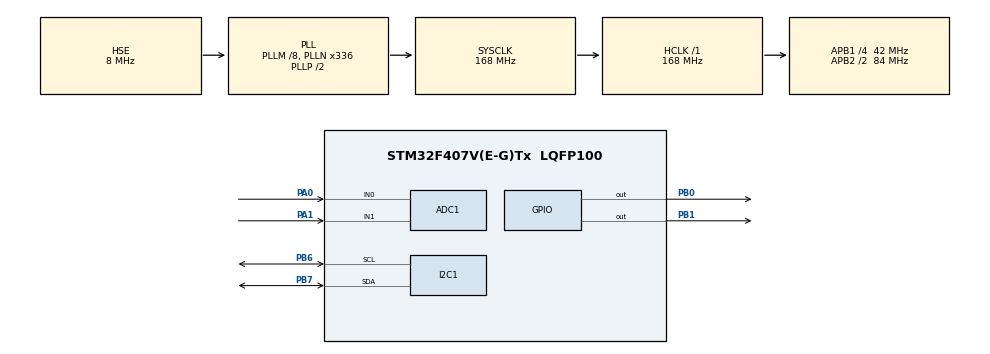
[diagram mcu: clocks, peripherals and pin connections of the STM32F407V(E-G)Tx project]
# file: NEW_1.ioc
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ADC1.Channel-1\#ChannelRegularConversion=ADC_CHANNEL_0
ADC1.ContinuousConvMode=ENABLE
ADC1.NbrOfConversionFlag=1
ADC1.Rank-1\#ChannelRegularConversion=1
ADC1.SamplingTime-1\#ChannelRegularConversion=ADC_SAMPLETIME_3CYCLES
ADC1.master=1
I2C1.I2C_Mode=I2C_Fast
Mcu.Family=STM32F4
Mcu.Name=STM32F407V(E-G)Tx
Mcu.Package=LQFP100
NVIC.PriorityGroup=NVIC_PRIORITYGROUP_0
PA0-WKUP.Signal=ADCx_IN0
PA1.Signal=ADCx_IN1
PA13.Mode=Serial_Wire
PA13.Signal=SYS_JTMS-SWDIO
PA14.Mode=Serial_Wire
PA14.Signal=SYS_JTCK-SWCLK
PB0.GPIO_ModeDefaultOutputPP=GPIO_MODE_OUTPUT_PP
PB0.GPIO_PuPd=GPIO_PULLUP
PB0.Signal=GPIO_Output
PB1.GPIO_ModeDefaultOutputPP=GPIO_MODE_OUTPUT_PP
PB1.GPIO_PuPd=GPIO_PULLUP
PB1.Signal=GPIO_Output
PB6.GPIO_Mode=GPIO_MODE_AF_OD
PB6.GPIO_Pu=GPIO_PULLUP
PB6.Mode=I2C
PB6.Signal=I2C1_SCL
PB7.GPIO_Mode=GPIO_MODE_AF_OD
PB7.GPIO_Pu=GPIO_PULLUP
PB7.Mode=I2C
PB7.Signal=I2C1_SDA
PH0-OSC_IN.Mode=HSE-External-Oscillator
PH0-OSC_IN.Signal=RCC_OSC_IN
PH1-OSC_OUT.Mode=HSE-External-Oscillator
PH1-OSC_OUT.Signal=RCC_OSC_OUT
ProjectManager.HeapSize=0x200
ProjectManager.StackSize=0x400
ProjectManager.TargetToolchain=STM32CubeIDE
RCC.48MHZClocksFreq_Value=48000000
RCC.AHBFreq_Value=168000000
RCC.APB1CLKDivider=RCC_HCLK_DIV4
RCC.APB1Freq_Value=42000000
RCC.APB1TimFreq_Value=84000000
RCC.APB2CLKDivider=RCC_HCLK_DIV2
RCC.APB2Freq_Value=84000000
RCC.APB2TimFreq_Value=168000000
RCC.CortexFreq_Value=168000000
RCC.HCLKFreq_Value=168000000
RCC.HSE_VALUE=8000000
RCC.HSI_VALUE=16000000
RCC.LSE_VALUE=32768
RCC.PLLM=8
RCC.PLLN=336
RCC.PLLQ=7
RCC.PLLSourceVirtual=RCC_PLLSOURCE_HSE
RCC.SYSCLKFreq_VALUE=168000000
RCC.SYSCLKSource=RCC_SYSCLKSOURCE_PLLCLK
RCC.VCOOutputFreq_Value=336000000
SH.ADCx_IN0.0=ADC1_IN0,IN0
SH.ADCx_IN1.0=ADC1_IN1,IN1
board=STM32F407G-DISC1

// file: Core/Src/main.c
/* USER CODE BEGIN Header */
/**
  ******************************************************************************
  * @file           : main.c
  * @brief          : Main program body
  ******************************************************************************
  * @attention
  *
  * Copyright (c) 2024 STMicroelectronics.
  * All rights reserved.
  *
  * This software is licensed under terms that can be found in the LICENSE file
  * in the root directory of this software component.
  * If no LICENSE file comes with this software, it is provided AS-IS.
  *
  ******************************************************************************
  */
/* USER CODE END Header */
#include "main.h"

/* USER CODE BEGIN Includes */
#include "ssd1306.h"
#include "ssd1306_fonts.h"
#include "mq135.h"
#include "ky037.h"
#define AQI_THRESHOLD 1
#define NOISE_THRESHOLD 5

/* USER CODE END Includes */

ADC_HandleTypeDef hadc1;

I2C_HandleTypeDef hi2c1;

void SystemClock_Config(void);
static void MX_GPIO_Init(void);
static void MX_I2C1_Init(void);
static void MX_ADC1_Init(void);

int main(void)
{

  /* MCU Configuration--------------------------------------------------------*/

  /* Reset of all peripherals, Initializes the Flash interface and the Systick. */
  HAL_Init();

  /* Configure the system clock */
  SystemClock_Config();

  /* Initialize all configured peripherals */
  MX_GPIO_Init();
  MX_I2C1_Init();
  MX_ADC1_Init();
  /* USER CODE BEGIN 2 */
  MQ135_Init(&hadc1);
     KY037_Init(&hadc1);
     ssd1306_Init();
  /* USER CODE END 2 */

  /* Infinite loop */
  while (1)
  {

    /* USER CODE BEGIN 3 */
	  // Simulate high AQI and noise levels
	  // Simulate high AQI and noise levels
	  HAL_ADC_Start(&hadc1);
	  	      HAL_ADC_PollForConversion(&hadc1, HAL_MAX_DELAY);
	  	      float aqi = MQ135_ReadPPM();

	  	      // Start ADC conversion for KY037
	  	      HAL_ADC_Start(&hadc1);
	  	      HAL_ADC_PollForConversion(&hadc1, HAL_MAX_DELAY);
	  	      float noise_level = KY037_ReadDecibels();

	  	      // Debugging prints for verification
	  	      printf("AQI: %.2f, Noise Level: %.2f dB\n", aqi, noise_level);

	  	      // Display AQI on OLED
	  	      ssd1306_Fill(Black);
	  	      ssd1306_SetCursor(2, 0);
	  	      ssd1306_WriteString("AQI: ", Font_7x10, White);
	  	      char aqi_str[10];
	  	      sprintf(aqi_str, "%.2f", aqi);
	  	      ssd1306_WriteString(aqi_str, Font_7x10, White);
	  	      ssd1306_UpdateScreen();

	  	      HAL_Delay(2000);  // 2-second delay

	  	      // Display noise level on OLED
	  	      ssd1306_SetCursor(2, 0);
	  	      ssd1306_WriteString("Noise: ", Font_7x10, White);
	  	      char noise_str[10];
	  	      sprintf(noise_str, "%.2f dB", noise_level);
	  	      ssd1306_WriteString(noise_str, Font_7x10, White);
	  	      ssd1306_UpdateScreen();

	  	      // Buzzer control based on AQI and Noise levels
	  	      if (aqi > AQI_THRESHOLD || noise_level > NOISE_THRESHOLD) {
	  	          HAL_GPIO_WritePin(GPIOB, GPIO_PIN_0, GPIO_PIN_SET);  // Turn on buzzer
	  	        HAL_GPIO_WritePin(GPIOB, GPIO_PIN_1, GPIO_PIN_SET);
	  	      } else {
	  	          HAL_GPIO_WritePin(GPIOB, GPIO_PIN_0, GPIO_PIN_RESET);
	  	        HAL_GPIO_WritePin(GPIOB,GPIO_PIN_1, GPIO_PIN_RESET);// Turn off buzzer
	  	      }

	  	      HAL_Delay(2000);  // Delay before next reading

  }
  /* USER CODE END 3 */
}

void SystemClock_Config(void)
{
  RCC_OscInitTypeDef RCC_OscInitStruct = {0};
  RCC_ClkInitTypeDef RCC_ClkInitStruct = {0};

  /** Configure the main internal regulator output voltage
  */
  __HAL_RCC_PWR_CLK_ENABLE();
  __HAL_PWR_VOLTAGESCALING_CONFIG(PWR_REGULATOR_VOLTAGE_SCALE1);

  /** Initializes the RCC Oscillators according to the specified parameters
  * in the RCC_OscInitTypeDef structure.
  */
  RCC_OscInitStruct.OscillatorType = RCC_OSCILLATORTYPE_HSE;
  RCC_OscInitStruct.HSEState = RCC_HSE_ON;
  RCC_OscInitStruct.PLL.PLLState = RCC_PLL_ON;
  RCC_OscInitStruct.PLL.PLLSource = RCC_PLLSOURCE_HSE;
  RCC_OscInitStruct.PLL.PLLM = 8;
  RCC_OscInitStruct.PLL.PLLN = 336;
  RCC_OscInitStruct.PLL.PLLP = RCC_PLLP_DIV2;
  RCC_OscInitStruct.PLL.PLLQ = 7;
  if (HAL_RCC_OscConfig(&RCC_OscInitStruct) != HAL_OK)
  {
    Error_Handler();
  }

  /** Initializes the CPU, AHB and APB buses clocks
  */
  RCC_ClkInitStruct.ClockType = RCC_CLOCKTYPE_HCLK|RCC_CLOCKTYPE_SYSCLK
                              |RCC_CLOCKTYPE_PCLK1|RCC_CLOCKTYPE_PCLK2;
  RCC_ClkInitStruct.SYSCLKSource = RCC_SYSCLKSOURCE_PLLCLK;
  RCC_ClkInitStruct.AHBCLKDivider = RCC_SYSCLK_DIV1;
  RCC_ClkInitStruct.APB1CLKDivider = RCC_HCLK_DIV4;
  RCC_ClkInitStruct.APB2CLKDivider = RCC_HCLK_DIV2;

  if (HAL_RCC_ClockConfig(&RCC_ClkInitStruct, FLASH_LATENCY_5) != HAL_OK)
  {
    Error_Handler();
  }
}

static void MX_ADC1_Init(void)
{

  ADC_ChannelConfTypeDef sConfig = {0};

  /** Configure the global features of the ADC (Clock, Resolution, Data Alignment and number of conversion)
  */
  hadc1.Instance = ADC1;
  hadc1.Init.ClockPrescaler = ADC_CLOCK_SYNC_PCLK_DIV4;
  hadc1.Init.Resolution = ADC_RESOLUTION_12B;
  hadc1.Init.ScanConvMode = DISABLE;
  hadc1.Init.ContinuousConvMode = ENABLE;
  hadc1.Init.DiscontinuousConvMode = DISABLE;
  hadc1.Init.ExternalTrigConvEdge = ADC_EXTERNALTRIGCONVEDGE_NONE;
  hadc1.Init.ExternalTrigConv = ADC_SOFTWARE_START;
  hadc1.Init.DataAlign = ADC_DATAALIGN_RIGHT;
  hadc1.Init.NbrOfConversion = 1;
  hadc1.Init.DMAContinuousRequests = DISABLE;
  hadc1.Init.EOCSelection = ADC_EOC_SINGLE_CONV;
  if (HAL_ADC_Init(&hadc1) != HAL_OK)
  {
    Error_Handler();
  }

  /** Configure for the selected ADC regular channel its corresponding rank in the sequencer and its sample time.
  */
  sConfig.Channel = ADC_CHANNEL_0;
  sConfig.Rank = 1;
  sConfig.SamplingTime = ADC_SAMPLETIME_3CYCLES;
  if (HAL_ADC_ConfigChannel(&hadc1, &sConfig) != HAL_OK)
  {
    Error_Handler();
  }

}

static void MX_I2C1_Init(void)
{

  hi2c1.Instance = I2C1;
  hi2c1.Init.ClockSpeed = 400000;
  hi2c1.Init.DutyCycle = I2C_DUTYCYCLE_2;
  hi2c1.Init.OwnAddress1 = 0;
  hi2c1.Init.AddressingMode = I2C_ADDRESSINGMODE_7BIT;
  hi2c1.Init.DualAddressMode = I2C_DUALADDRESS_DISABLE;
  hi2c1.Init.OwnAddress2 = 0;
  hi2c1.Init.GeneralCallMode = I2C_GENERALCALL_DISABLE;
  hi2c1.Init.NoStretchMode = I2C_NOSTRETCH_DISABLE;
  if (HAL_I2C_Init(&hi2c1) != HAL_OK)
  {
    Error_Handler();
  }

}

static void MX_GPIO_Init(void)
{
  GPIO_InitTypeDef GPIO_InitStruct = {0};

  /* GPIO Ports Clock Enable */
  __HAL_RCC_GPIOH_CLK_ENABLE();
  __HAL_RCC_GPIOA_CLK_ENABLE();
  __HAL_RCC_GPIOB_CLK_ENABLE();

  /*Configure GPIO pin Output Level */
  HAL_GPIO_WritePin(GPIOB, GPIO_PIN_0|GPIO_PIN_1, GPIO_PIN_RESET);

  /*Configure GPIO pins : PB0 PB1 */
  GPIO_InitStruct.Pin = GPIO_PIN_0|GPIO_PIN_1;
  GPIO_InitStruct.Mode = GPIO_MODE_OUTPUT_PP;
  GPIO_InitStruct.Pull = GPIO_PULLUP;
  GPIO_InitStruct.Speed = GPIO_SPEED_FREQ_LOW;
  HAL_GPIO_Init(GPIOB, &GPIO_InitStruct);

}

void Error_Handler(void)
{
  __disable_irq();
  while (1)
  {
  }
}
